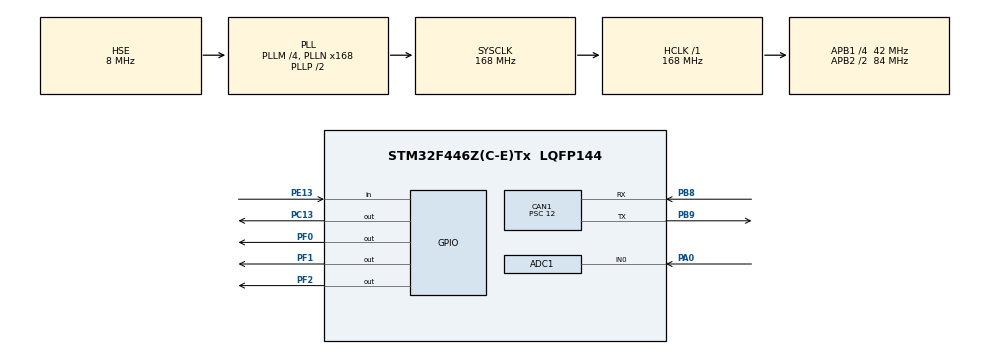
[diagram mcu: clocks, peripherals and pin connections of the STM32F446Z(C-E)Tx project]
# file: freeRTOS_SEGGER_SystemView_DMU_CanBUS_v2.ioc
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ADC1.Channel-0\#ChannelRegularConversion=ADC_CHANNEL_0
ADC1.NbrOfConversion=1
ADC1.NbrOfConversionFlag=1
ADC1.Rank-0\#ChannelRegularConversion=1
ADC1.SamplingTime-0\#ChannelRegularConversion=ADC_SAMPLETIME_3CYCLES
ADC1.ScanConvMode=ENABLE
ADC1.master=1
CAN1.BS1=CAN_BS1_11TQ
CAN1.BS2=CAN_BS2_2TQ
CAN1.CalculateBaudRate=250000
CAN1.CalculateTimeBit=4000
CAN1.CalculateTimeQuantum=285.7142857142857
CAN1.Prescaler=12
FREERTOS.Tasks01=defaultTask,24,128,StartDefaultTask,Default,NULL,Dynamic,NULL,NULL;myTask02,16,128,StartTask02,Default,NULL,Dynamic,NULL,NULL;myTask03,16,128,StartTask03,Default,NULL,Dynamic,NULL,NULL
FREERTOS.configUSE_NEWLIB_REENTRANT=1
Mcu.Family=STM32F4
Mcu.Name=STM32F446Z(C-E)Tx
Mcu.Package=LQFP144
NVIC.CAN1_RX0_IRQn=true\:5\:0\:false\:false\:true\:true\:true\:true\:true
NVIC.PriorityGroup=NVIC_PRIORITYGROUP_4
NVIC.RCC_IRQn=true\:5\:0\:false\:false\:true\:true\:true\:false\:true
NVIC.TIM6_DAC_IRQn=true\:15\:0\:false\:false\:true\:false\:false\:true\:true
NVIC.TimeBase=TIM6_DAC_IRQn
NVIC.TimeBaseIP=TIM6
PA0-WKUP.Signal=ADCx_IN0
PB8.Mode=CAN_Activate
PB8.Signal=CAN1_RX
PB9.Mode=CAN_Activate
PB9.Signal=CAN1_TX
PC13.Signal=GPIO_Output
PE13.Signal=GPIO_Input
PF0.Signal=GPIO_Output
PF1.Signal=GPIO_Output
PF2.Signal=GPIO_Output
PH0-OSC_IN.Mode=HSE-External-Oscillator
PH0-OSC_IN.Signal=RCC_OSC_IN
PH1-OSC_OUT.Mode=HSE-External-Oscillator
PH1-OSC_OUT.Signal=RCC_OSC_OUT
ProjectManager.HeapSize=0x200
ProjectManager.StackSize=0x400
ProjectManager.TargetToolchain=STM32CubeIDE
RCC.AHBFreq_Value=168000000
RCC.APB1CLKDivider=RCC_HCLK_DIV4
RCC.APB1Freq_Value=42000000
RCC.APB1TimFreq_Value=84000000
RCC.APB2CLKDivider=RCC_HCLK_DIV2
RCC.APB2Freq_Value=84000000
RCC.APB2TimFreq_Value=168000000
RCC.CortexFreq_Value=168000000
RCC.HCLKFreq_Value=168000000
RCC.HSE_VALUE=8000000
RCC.PLLM=4
RCC.PLLN=168
RCC.PLLSourceVirtual=RCC_PLLSOURCE_HSE
RCC.SYSCLKFreq_VALUE=168000000
RCC.SYSCLKSource=RCC_SYSCLKSOURCE_PLLCLK
RCC.USBFreq_Value=168000000
RCC.VCOOutputFreq_Value=336000000
SH.ADCx_IN0.0=ADC1_IN0,IN0
VP_FREERTOS_VS_CMSIS_V2.Mode=CMSIS_V2
VP_SYS_VS_tim6.Mode=TIM6
board=custom

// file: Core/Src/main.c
/* USER CODE BEGIN Header */
/**
  ******************************************************************************
  * @file           : main.c
  * @brief          : Main program body
  ******************************************************************************
  * @attention
  *
  * Copyright (c) 2024 STMicroelectronics.
  * All rights reserved.
  *
  * This software is licensed under terms that can be found in the LICENSE file
  * in the root directory of this software component.
  * If no LICENSE file comes with this software, it is provided AS-IS.
  *
  ******************************************************************************
  */
/* USER CODE END Header */
#include "main.h"
#include "cmsis_os.h"

/* USER CODE BEGIN Includes */

#include "FreeRTOS.h"
#include <stdio.h>
#include <stdbool.h>
#include "task.h"
#include "SEGGER_RTT.h"
#include "SEGGER_SYSVIEW_Conf.h"
#include "SEGGER_SYSVIEW.h"

bool acces_key = 1;
//uint8_t TxData;
unsigned digital_output;

/* USER CODE END Includes */

/* USER CODE BEGIN PD */
CAN_FilterTypeDef sFilterConfig;
/* USER CODE END PD */

ADC_HandleTypeDef hadc1;

CAN_HandleTypeDef hcan1;

/* Definitions for defaultTask */
osThreadId_t defaultTaskHandle;
const osThreadAttr_t defaultTask_attributes = {
  .name = "defaultTask",
  .stack_size = 128 * 4,
  .priority = (osPriority_t) osPriorityNormal,
};
/* Definitions for myTask02 */
osThreadId_t myTask02Handle;
const osThreadAttr_t myTask02_attributes = {
  .name = "myTask02",
  .stack_size = 128 * 4,
  .priority = (osPriority_t) osPriorityBelowNormal,
};
/* Definitions for myTask03 */
osThreadId_t myTask03Handle;
const osThreadAttr_t myTask03_attributes = {
  .name = "myTask03",
  .stack_size = 128 * 4,
  .priority = (osPriority_t) osPriorityBelowNormal,
};

void SystemClock_Config(void);
static void MX_GPIO_Init(void);
static void MX_ADC1_Init(void);
static void MX_CAN1_Init(void);
void StartDefaultTask(void *argument);
void StartTask02(void *argument);
void StartTask03(void *argument);

/* USER CODE BEGIN 0 */
uint32_t amp1_buff1[1];
uint32_t amp1_buff2[1];

typedef struct {
    CAN_TxHeaderTypeDef pTxHeader; // Mesaj başlığı
    CAN_RxHeaderTypeDef RxHeader;

    uint8_t TxData[1];            // Veri
    uint32_t TxMailbox;           // Mailbox ID
    uint8_t RxData[1];            // Alınan veri
    uint16_t feedback_amp;        // Geri bildirim verisi
} CAN_MessageTypeDef;
CAN_MessageTypeDef amp1;

/* USER CODE END 0 */

int main(void)
{

  /* USER CODE BEGIN 1 */
	SEGGER_SYSVIEW_Conf();
	SEGGER_SYSVIEW_Start();
  /* USER CODE END 1 */

  /* MCU Configuration--------------------------------------------------------*/

  /* Reset of all peripherals, Initializes the Flash interface and the Systick. */
  HAL_Init();

  /* USER CODE BEGIN Init */
//  osKernelInitialize();

  /* USER CODE END Init */

  /* Configure the system clock */

  /* USER CODE BEGIN SysInit */
  SystemCoreClockUpdate();

  /* USER CODE END SysInit */

  /* Initialize all configured peripherals */
  MX_GPIO_Init();
  MX_ADC1_Init();
  MX_CAN1_Init();
  /* USER CODE BEGIN 2 */
  HAL_CAN_Start(&hcan1);

      // Activate interrupt
  //	  // set filter parameter
    if (HAL_CAN_ActivateNotification(&hcan1, CAN_IT_RX_FIFO0_MSG_PENDING) != HAL_OK)
      {
        Error_Handler();
      }
      sFilterConfig.FilterBank = 0;
      sFilterConfig.FilterMode = CAN_FILTERMODE_IDMASK;
      sFilterConfig.FilterScale = CAN_FILTERSCALE_32BIT;
      sFilterConfig.FilterIdHigh = 0x0000;
      sFilterConfig.FilterIdLow = 0x0000 ;
      sFilterConfig.FilterMaskIdHigh =0x0000; // 0xFFF0- 0x0150 dersek yine aynı şeyi yapar
      sFilterConfig.FilterMaskIdLow = 0x0000;
      sFilterConfig.FilterFIFOAssignment = CAN_RX_FIFO0;
      sFilterConfig.FilterActivation = ENABLE;
      HAL_CAN_GetRxMessage(&hcan1, CAN_RX_FIFO0 , &amp1.RxHeader, &amp1.RxData);
      HAL_CAN_ActivateNotification(&hcan1, CAN_IT_RX_FIFO0_MSG_PENDING);
      if (HAL_CAN_ConfigFilter(&hcan1, &sFilterConfig) != HAL_OK)
      {
        Error_Handler();
      }

      amp1.RxHeader.StdId=0x0000;
      amp1.RxHeader.DLC=8;
      amp1.RxHeader.IDE=CAN_ID_STD;
      amp1.RxHeader.RTR=CAN_RTR_DATA;

      amp1.pTxHeader.StdId= 0x0000;// 0x07E1
      amp1.pTxHeader.DLC=8;
      amp1.pTxHeader.IDE=CAN_ID_STD;
      amp1.pTxHeader.RTR = CAN_RTR_DATA;

  	HAL_CAN_ConfigFilter(&hcan1, &sFilterConfig);
  /* USER CODE END 2 */

  /* Init scheduler */
  osKernelInitialize();

  /* Create the thread(s) */
  /* creation of defaultTask */
  defaultTaskHandle = osThreadNew(StartDefaultTask, NULL, &defaultTask_attributes);

  /* creation of myTask02 */
  myTask02Handle = osThreadNew(StartTask02, NULL, &myTask02_attributes);

  /* creation of myTask03 */
  myTask03Handle = osThreadNew(StartTask03, NULL, &myTask03_attributes);

  /* USER CODE BEGIN RTOS_THREADS */
  /* add threads, ... */
  xTaskCreate(StartDefaultTask,"myTask01",configMINIMAL_STACK_SIZE, NULL, 4, &defaultTask_attributes);
  xTaskCreate(StartTask02, "myTask02", configMINIMAL_STACK_SIZE, NULL, 4, &myTask02_attributes);
  xTaskCreate(StartTask03, "myTask03", configMINIMAL_STACK_SIZE, NULL, 4, &myTask03_attributes);

  /* USER CODE END RTOS_THREADS */

  /* Start scheduler */
  osKernelStart();
  vTaskStartScheduler();
  /* We should never get here as control is now taken by the scheduler */

  /* Infinite loop */
  while (1)
  {

  }
}

void SystemClock_Config(void)
{
  RCC_OscInitTypeDef RCC_OscInitStruct = {0};
  RCC_ClkInitTypeDef RCC_ClkInitStruct = {0};

  /** Configure the main internal regulator output voltage
  */
  __HAL_RCC_PWR_CLK_ENABLE();
  __HAL_PWR_VOLTAGESCALING_CONFIG(PWR_REGULATOR_VOLTAGE_SCALE1);

  /** Initializes the RCC Oscillators according to the specified parameters
  * in the RCC_OscInitTypeDef structure.
  */
  RCC_OscInitStruct.OscillatorType = RCC_OSCILLATORTYPE_HSE;
  RCC_OscInitStruct.HSEState = RCC_HSE_ON;
  RCC_OscInitStruct.PLL.PLLState = RCC_PLL_ON;
  RCC_OscInitStruct.PLL.PLLSource = RCC_PLLSOURCE_HSE;
  RCC_OscInitStruct.PLL.PLLM = 4;
  RCC_OscInitStruct.PLL.PLLN = 168;
  RCC_OscInitStruct.PLL.PLLP = RCC_PLLP_DIV2;
  RCC_OscInitStruct.PLL.PLLQ = 2;
  RCC_OscInitStruct.PLL.PLLR = 2;
  if (HAL_RCC_OscConfig(&RCC_OscInitStruct) != HAL_OK)
  {
    Error_Handler();
  }

  /** Initializes the CPU, AHB and APB buses clocks
  */
  RCC_ClkInitStruct.ClockType = RCC_CLOCKTYPE_HCLK|RCC_CLOCKTYPE_SYSCLK
                              |RCC_CLOCKTYPE_PCLK1|RCC_CLOCKTYPE_PCLK2;
  RCC_ClkInitStruct.SYSCLKSource = RCC_SYSCLKSOURCE_PLLCLK;
  RCC_ClkInitStruct.AHBCLKDivider = RCC_SYSCLK_DIV1;
  RCC_ClkInitStruct.APB1CLKDivider = RCC_HCLK_DIV4;
  RCC_ClkInitStruct.APB2CLKDivider = RCC_HCLK_DIV2;

  if (HAL_RCC_ClockConfig(&RCC_ClkInitStruct, FLASH_LATENCY_5) != HAL_OK)
  {
    Error_Handler();
  }
}

static void MX_ADC1_Init(void)
{

  ADC_ChannelConfTypeDef sConfig = {0};

  /** Configure the global features of the ADC (Clock, Resolution, Data Alignment and number of conversion)
  */
  hadc1.Instance = ADC1;
  hadc1.Init.ClockPrescaler = ADC_CLOCK_SYNC_PCLK_DIV4;
  hadc1.Init.Resolution = ADC_RESOLUTION_12B;
  hadc1.Init.ScanConvMode = ENABLE;
  hadc1.Init.ContinuousConvMode = DISABLE;
  hadc1.Init.DiscontinuousConvMode = DISABLE;
  hadc1.Init.ExternalTrigConvEdge = ADC_EXTERNALTRIGCONVEDGE_NONE;
  hadc1.Init.ExternalTrigConv = ADC_SOFTWARE_START;
  hadc1.Init.DataAlign = ADC_DATAALIGN_RIGHT;
  hadc1.Init.NbrOfConversion = 1;
  hadc1.Init.DMAContinuousRequests = DISABLE;
  hadc1.Init.EOCSelection = ADC_EOC_SINGLE_CONV;
  if (HAL_ADC_Init(&hadc1) != HAL_OK)
  {
    Error_Handler();
  }

  /** Configure for the selected ADC regular channel its corresponding rank in the sequencer and its sample time.
  */
  sConfig.Channel = ADC_CHANNEL_0;
  sConfig.Rank = 1;
  sConfig.SamplingTime = ADC_SAMPLETIME_3CYCLES;
  if (HAL_ADC_ConfigChannel(&hadc1, &sConfig) != HAL_OK)
  {
    Error_Handler();
  }

}

static void MX_CAN1_Init(void)
{

  hcan1.Instance = CAN1;
  hcan1.Init.Prescaler = 12;
  hcan1.Init.Mode = CAN_MODE_NORMAL;
  hcan1.Init.SyncJumpWidth = CAN_SJW_1TQ;
  hcan1.Init.TimeSeg1 = CAN_BS1_11TQ;
  hcan1.Init.TimeSeg2 = CAN_BS2_2TQ;
  hcan1.Init.TimeTriggeredMode = DISABLE;
  hcan1.Init.AutoBusOff = DISABLE;
  hcan1.Init.AutoWakeUp = DISABLE;
  hcan1.Init.AutoRetransmission = DISABLE;
  hcan1.Init.ReceiveFifoLocked = DISABLE;
  hcan1.Init.TransmitFifoPriority = DISABLE;
  if (HAL_CAN_Init(&hcan1) != HAL_OK)
  {
    Error_Handler();
  }
  /* USER CODE BEGIN CAN1_Init 2 */
  sFilterConfig.FilterBank = 0;                            // value between 0 to 13 for JUST Master Mode (CAN1)
  	sFilterConfig.FilterMode = CAN_FILTERMODE_IDMASK;       // for filtering Identifiers
  	sFilterConfig.FilterScale = CAN_FILTERSCALE_32BIT;     // for Scaling filtering (if use EXTENDED CAN this must be 32BIT)
  	sFilterConfig.FilterIdHigh =0;         				  // First Identifier MSB value for receiving in IDLIST Mode for 32BIT Scaling
  	sFilterConfig.FilterIdLow = 0;                   	 // First Identifier LSB value for receiving in IDLIST Mode for 32BIT Scaling
  	sFilterConfig.FilterMaskIdHigh = 0;                 // Second Identifier MSB value for receiving in IDLIST Mode for 32BIT Scaling
  	sFilterConfig.FilterMaskIdLow = 0;                 // Second Identifier LSB value for receiving in IDLIST Mode for 32BIT Scaling
  	sFilterConfig.FilterFIFOAssignment = CAN_RX_FIFO0;// specify FIFO0 or FIFO1
  	sFilterConfig.FilterActivation = ENABLE;		 // Enable filtering
  	sFilterConfig.SlaveStartFilterBank = 14;
  	  if (HAL_CAN_ConfigFilter(&hcan1, &sFilterConfig) != HAL_OK)
  	  {
  	    Error_Handler();
  	  }
  /* USER CODE END CAN1_Init 2 */

}

static void MX_GPIO_Init(void)
{
  GPIO_InitTypeDef GPIO_InitStruct = {0};

  /* GPIO Ports Clock Enable */
  __HAL_RCC_GPIOC_CLK_ENABLE();
  __HAL_RCC_GPIOF_CLK_ENABLE();
  __HAL_RCC_GPIOH_CLK_ENABLE();
  __HAL_RCC_GPIOA_CLK_ENABLE();
  __HAL_RCC_GPIOE_CLK_ENABLE();
  __HAL_RCC_GPIOB_CLK_ENABLE();

  /*Configure GPIO pin Output Level */
  HAL_GPIO_WritePin(GPIOC, GPIO_PIN_13, GPIO_PIN_RESET);

  /*Configure GPIO pin Output Level */
  HAL_GPIO_WritePin(GPIOF, GPIO_PIN_0|GPIO_PIN_1|GPIO_PIN_2, GPIO_PIN_RESET);

  /*Configure GPIO pin : PC13 */
  GPIO_InitStruct.Pin = GPIO_PIN_13;
  GPIO_InitStruct.Mode = GPIO_MODE_OUTPUT_PP;
  GPIO_InitStruct.Pull = GPIO_NOPULL;
  GPIO_InitStruct.Speed = GPIO_SPEED_FREQ_LOW;
  HAL_GPIO_Init(GPIOC, &GPIO_InitStruct);

  /*Configure GPIO pins : PF0 PF1 PF2 */
  GPIO_InitStruct.Pin = GPIO_PIN_0|GPIO_PIN_1|GPIO_PIN_2;
  GPIO_InitStruct.Mode = GPIO_MODE_OUTPUT_PP;
  GPIO_InitStruct.Pull = GPIO_NOPULL;
  GPIO_InitStruct.Speed = GPIO_SPEED_FREQ_LOW;
  HAL_GPIO_Init(GPIOF, &GPIO_InitStruct);

  /*Configure GPIO pin : PE13 */
  GPIO_InitStruct.Pin = GPIO_PIN_13;
  GPIO_InitStruct.Mode = GPIO_MODE_INPUT;
  GPIO_InitStruct.Pull = GPIO_NOPULL;
  HAL_GPIO_Init(GPIOE, &GPIO_InitStruct);

}

void StartDefaultTask(void *argument)
{
  /* USER CODE BEGIN 5 */

  /* Infinite loop */
  for(;;)
  {
	  if(acces_key == 1)
	  {
		  acces_key =0;
		  HAL_GPIO_WritePin(GPIOF, GPIO_PIN_0, GPIO_PIN_SET);
		  HAL_Delay(500);
		  HAL_GPIO_WritePin(GPIOF, GPIO_PIN_0, GPIO_PIN_RESET);
		  acces_key =1;
		  taskYIELD();
	  }
	    osDelay(1000);
  }
  /* USER CODE END 5 */
}

void StartTask02(void *argument)
{
  /* USER CODE BEGIN StartTask02 */
  /* Infinite loop */
  for(;;)
  {
	  if(digital_output == 0)
	  {
		  HAL_GPIO_WritePin(GPIOC, GPIO_PIN_13, GPIO_PIN_SET);
	  	  HAL_Delay(500);
	  	  HAL_GPIO_WritePin(GPIOC, GPIO_PIN_13, GPIO_PIN_RESET);

	  	  HAL_GPIO_WritePin(GPIOF, GPIO_PIN_1, GPIO_PIN_SET);
	  	  HAL_Delay(500);
	  	  HAL_GPIO_WritePin(GPIOF, GPIO_PIN_1, GPIO_PIN_RESET);

	  	  HAL_ADC_Start(&hadc1);  // ADC'yi başlat

	  		    if(HAL_ADC_PollForConversion(&hadc1, 1000) == HAL_OK)
	  		    {
	  	//	    	TxData[0] = HAL_ADC_GetValue(&hadc1);
	  	//	    	HAL_ADC_GetValue(&hadc1);

	  		        amp1.TxData[0]=HAL_ADC_GetValue(&hadc1);
	  	//	        amp1.TxData[1]=0x00;
	  	//	        amp1.TxData[2]=0x21;
	  	//	        amp1.TxData[3]=0x01;
	  	//	        amp1.TxData[4]=0x20;
	  	//	        amp1.TxData[5]=0x12;
	  	//	     	amp1.TxData[6]=0x00;
	  	//	        amp1.TxData[7]=0x30;
	  		        HAL_CAN_AddTxMessage(&hcan1, &amp1.pTxHeader, amp1.TxData, &amp1.TxMailbox);
//	  		        HAL_Delay(500);

	  		        if(amp1.RxData[0] != 0xFF)
	  		        {
	  		        sprintf(amp1_buff1, "%d", amp1.RxData[4]);
	  		        sprintf(amp1_buff2, "%d", amp1.RxData[5]);
	  		       	amp1.feedback_amp= atoi(amp1_buff2)*256 + atoi(amp1_buff1);  //atoi (ASCII to Integer), bir C kütüphane fonksiyonudur ve bir C string'ini (char dizisini) tamsayı (int) veri türüne dönüştürmek için kullanılır.
	  		        }else{
	  		        sprintf(amp1_buff1, "%d", amp1.RxData[4]);
	  		        sprintf(amp1_buff2, "%d", amp1.RxData[5]);
	  		        amp1.feedback_amp = 65536 - (atoi(amp1_buff2)*256 + atoi(amp1_buff1));
	  		        }
	  		        HAL_Delay(1);

	  		    }
	  	}
	  		    HAL_ADC_Stop(&hadc1);
	  taskYIELD();
	  osDelay(1000);

  }

  /* USER CODE END StartTask02 */
}

void StartTask03(void *argument)
{
  /* USER CODE BEGIN StartTask03 */
  /* Infinite loop */
  for(;;)
  {
	  digital_output=HAL_GPIO_ReadPin(GPIOE, GPIO_PIN_13);

  }
  /* USER CODE END StartTask03 */
}

void HAL_TIM_PeriodElapsedCallback(TIM_HandleTypeDef *htim)
{
  if (htim->Instance == TIM6) {
    HAL_IncTick();
  }
}

void Error_Handler(void)
{
  __disable_irq();
  while (1)
  {
  }
}
